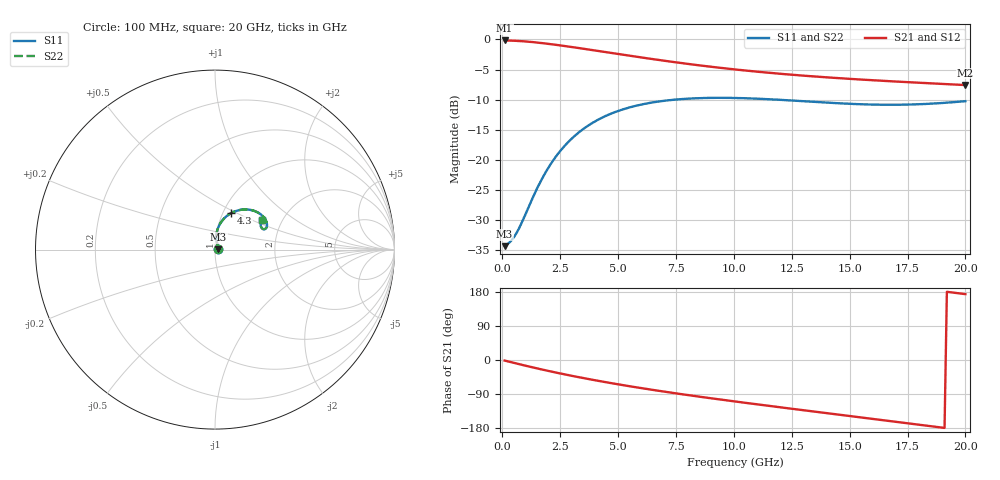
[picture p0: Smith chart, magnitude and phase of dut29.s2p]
! Created with skrf 1.9.0 (http://scikit-rf.org).
# GHz S RI R 50.0
!freq ReS11 ImS11 ReS21 ImS21 ReS12 ImS12 ReS22 ImS22
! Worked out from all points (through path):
!   200 points, 100 MHz to 20 GHz, reference 50 ohm
!   highest |S21| = -0.17 dB at 100 MHz (marker M1); lowest = -7.6 dB at 20 GHz (marker M2)
!   group delay of S21, straight-line fit = 24.4 ps
!   lowest |S11| = -34.4 dB at 100 MHz (marker M3), VSWR 1.04, Z = 51.9 + j0.257 ohm
!   |S11| at or under -10 dB: start of sweep to 7.489 GHz; 11.8 GHz to end of sweep
!   |S22| runs from -34.4 to -9.7 dB; largest |S21 - S12| = 2.4e-15
!   S11 on the Smith chart (normalised r, x): 100 MHz: 1.04, +0.01; 4.3 GHz: 1.09, +0.47; 20 GHz: 1.58, +0.57
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0.1  0.0189 0.00248  0.9805 -0.0258  0.9805 -0.0258  0.0189 0.00248
0.4  0.0181 0.0114  0.972 -0.1035  0.972 -0.1035  0.0181 0.0114
0.6  0.0165 0.0178  0.9614 -0.1538  0.9614 -0.1538  0.0165 0.0178
0.8  0.0146 0.0248  0.9471 -0.2025  0.9471 -0.2025  0.0146 0.0248
1.1  0.0113 0.0372  0.9195 -0.2717  0.9195 -0.2717  0.0113 0.0372
1.6  0.00761 0.0624  0.86 -0.3747  0.86 -0.3747  0.00761 0.0624
2.1  0.00919 0.0921  0.7887 -0.4611  0.7887 -0.4611  0.00919 0.0921
2.4  0.0135 0.1108  0.7423 -0.505  0.7423 -0.505  0.0135 0.1108
2.8  0.0234 0.1352  0.6782 -0.5546  0.6782 -0.5546  0.0234 0.1352
3.5  0.0503 0.173  0.5636 -0.6192  0.5636 -0.6192  0.0503 0.173
4.3  0.0909 0.2038  0.4354 -0.6635  0.4354 -0.6635  0.0909 0.2038
4.8  0.1182 0.2156  0.3592 -0.678  0.3592 -0.678  0.1182 0.2156
5.4  0.1506 0.2227  0.2729 -0.6846  0.2729 -0.6846  0.1506 0.2227
6.8  0.2155 0.2166  0.0968 -0.6661  0.0968 -0.6661  0.2155 0.2166
8.4  0.2637 0.1888  -0.0625 -0.6093  -0.0625 -0.6093  0.2637 0.1888
10.1  0.2865 0.1551  -0.1907 -0.5282  -0.1907 -0.5282  0.2865 0.1551
11.7  0.289 0.1301  -0.2813 -0.4424  -0.2813 -0.4424  0.289 0.1301
13.4  0.2802 0.1156  -0.352 -0.3455  -0.352 -0.3455  0.2802 0.1156
15  0.2682 0.1143  -0.3976 -0.2508  -0.3976 -0.2508  0.2682 0.1143
16.7  0.2576 0.1244  -0.4247 -0.1481  -0.4247 -0.1481  0.2576 0.1244
18.3  0.254 0.1415  -0.4302 -0.0522  -0.4302 -0.0522  0.254 0.1415
20  0.2595 0.1632  -0.415 0.0453  -0.415 0.0453  0.2595 0.1632
